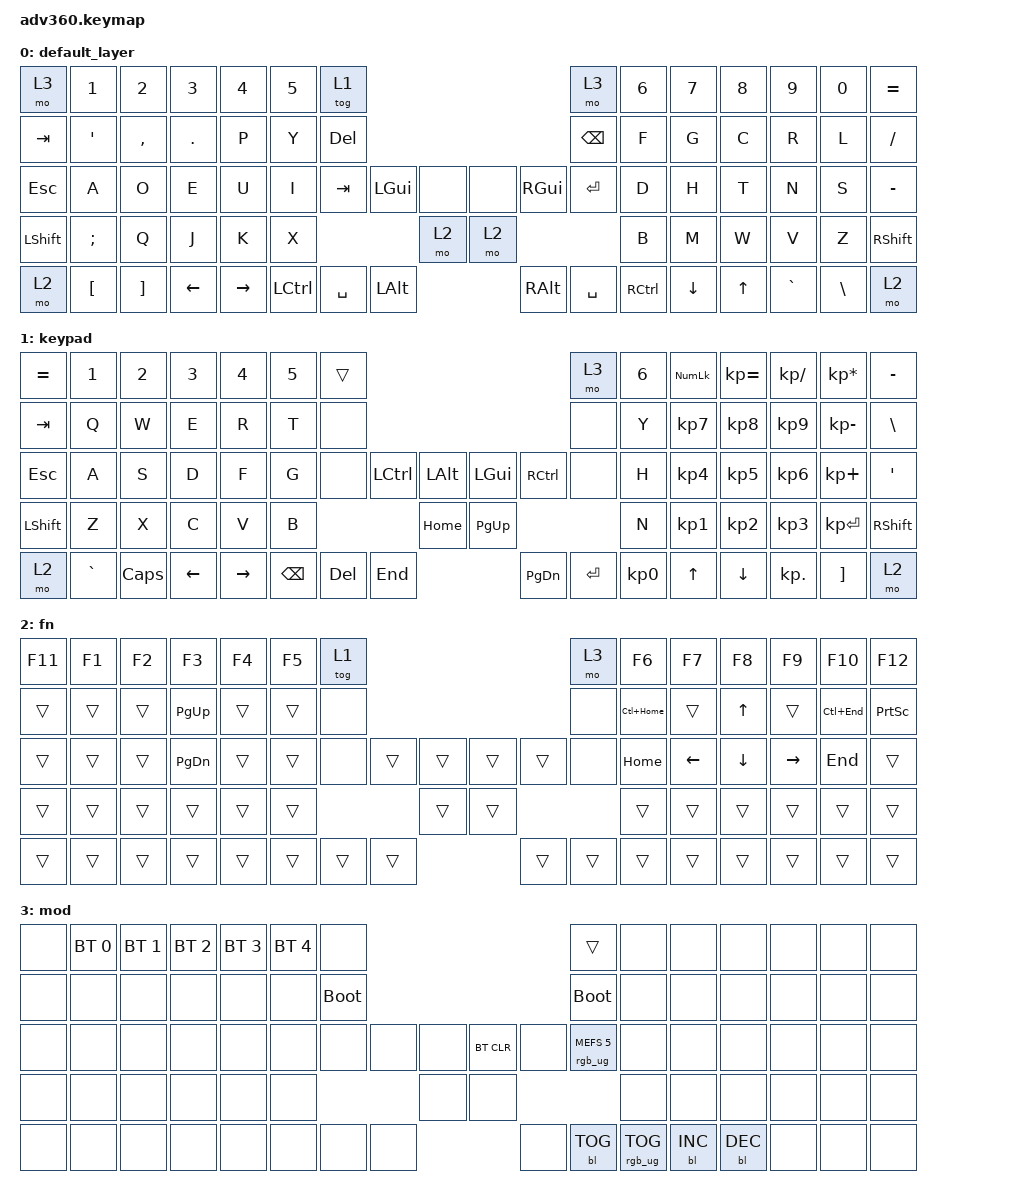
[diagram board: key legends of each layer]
#include <behaviors.dtsi>
#include <dt-bindings/zmk/keys.h>
#include <dt-bindings/zmk/bt.h>
#include <dt-bindings/zmk/rgb.h>
#include <dt-bindings/zmk/backlight.h>

/ {
    behaviors {
      #include "macros.dtsi"

      hm: homerow_mods {
          compatible = "zmk,behavior-hold-tap";
          label = "HOMEROW_MODS";
          #binding-cells = <2>;
          tapping-term-ms = <200>;
          quick_tap_ms = <175>;
          flavor = "tap-preferred";
          bindings = <&kp>, <&kp>;
      };
    };

  keymap {
    compatible = "zmk,keymap";

    default_layer {
      bindings = <
        &mo 3     &kp N1   &kp N2    &kp N3   &kp N4     &kp N5 &tog 1                                                          &mo 3     &kp N6 &kp N7   &kp N8 &kp N9    &kp N0   &kp EQUAL
        &kp TAB   &kp SQT  &kp COMMA &kp DOT  &kp P      &kp Y  &kp DEL                                                         &kp BSPC  &kp F  &kp G    &kp C  &kp R     &kp L    &kp FSLH
        &kp ESC   &kp A    &kp O     &kp E    &kp U      &kp I  &kp TAB           &kp LGUI  &none    &none    &kp RGUI          &kp ENTER &kp D  &kp H    &kp T  &kp N     &kp S    &kp MINUS
        &kp LSHFT &kp SEMI &kp Q     &kp J    &kp K      &kp X                              &mo 2    &mo 2                                &kp B  &kp M    &kp W  &kp V     &kp Z    &kp RSHFT
        &mo 2     &kp LBKT &kp RBKT  &kp LEFT &kp RIGHT                  &kp LCTL &kp SPACE &kp LALT &kp RALT &kp SPACE &kp RCTL                 &kp DOWN &kp UP &kp GRAVE &kp BSLH &mo 2
      >;
    };
    keypad {
      bindings = <
        &kp EQUAL &kp N1    &kp N2   &kp N3   &kp N4     &kp N5 &trans                                                           &mo 3 &kp N6 &kp KP_NUM &kp KP_EQUAL &kp KP_DIVIDE &kp KP_MULTIPLY &kp MINUS
        &kp TAB   &kp Q     &kp W    &kp E    &kp R      &kp T  &none                                                            &none &kp Y  &kp KP_N7  &kp KP_N8    &kp KP_N9     &kp KP_MINUS    &kp BSLH
        &kp ESC   &kp A     &kp S    &kp D    &kp F      &kp G  &none           &kp LCTRL &kp LALT &kp LGUI  &kp RCTRL           &none &kp H  &kp KP_N4  &kp KP_N5    &kp KP_N6     &kp KP_PLUS     &kp SQT
        &kp LSHFT &kp Z     &kp X    &kp C    &kp V      &kp B                            &kp HOME &kp PG_UP                           &kp N  &kp KP_N1  &kp KP_N2    &kp KP_N3     &kp KP_ENTER    &kp RSHFT
        &mo 2     &kp GRAVE &kp CAPS &kp LEFT &kp RIGHT                &kp BSPC &kp DEL   &kp END  &kp PG_DN &kp ENTER &kp KP_N0              &kp UP     &kp DOWN     &kp KP_DOT    &kp RBKT        &mo 2
      >;
    };
    fn {
      bindings = <
        &kp F11 &kp F1 &kp F2 &kp F3    &kp F4 &kp F5  &tog 1                                          &mo 3 &kp F6       &kp F7   &kp F8   &kp F9    &kp F10     &kp F12
        &trans  &trans &trans &kp PG_UP &trans &trans  &none                                           &none &kp LC(HOME) &trans   &kp UP   &trans    &kp LC(END) &kp PSCRN
        &trans  &trans &trans &kp PG_DN &trans &trans  &none        &trans &trans &trans &trans        &none &kp HOME     &kp LEFT &kp DOWN &kp RIGHT &kp END     &trans
        &trans  &trans &trans &trans    &trans &trans                      &trans &trans                     &trans       &trans   &trans   &trans    &trans      &trans
        &trans  &trans &trans &trans    &trans               &trans &trans &trans &trans &trans &trans                    &trans   &trans   &trans    &trans      &trans
      >;
    };
    mod {
      bindings = <
        &none &bt BT_SEL 0 &bt BT_SEL 1 &bt BT_SEL 2 &bt BT_SEL 3 &bt BT_SEL 4 &none                                                                     &trans                 &none        &none        &none        &none &none &none
        &none &none        &none        &none        &none        &none        &bootloader                                                               &bootloader            &none        &none        &none        &none &none &none
        &none &none        &none        &none        &none        &none        &none                   &none &none &bt BT_CLR &none                      &rgb_ug RGB_MEFS_CMD 5 &none        &none        &none        &none &none &none
        &none &none        &none        &none        &none        &none                                      &none &none                                                        &none        &none        &none        &none &none &none
        &none &none        &none        &none        &none                                       &none &none &none &none      &bl BL_TOG &rgb_ug RGB_TOG                                     &bl BL_INC   &bl BL_DEC   &none &none &none
      >;
    };
  };
};
